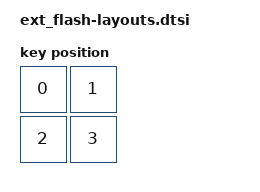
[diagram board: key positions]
#include <physical_layouts.dtsi>

/ {
    physical_layout0: physical_layout_0{
        compatible = "zmk,physical-layout";
        display-name = "Macro Pad";
        // transform = <&default_transform>;
        // kscan = <&kscan0>;
        keys  //                     w   h    x    y     rot    rx    ry
            = <&key_physical_attrs 100 100    0    0       0     0     0>
            , <&key_physical_attrs 100 100  100    0       0     0     0>
            , <&key_physical_attrs 100 100    0  100       0     0     0>
            , <&key_physical_attrs 100 100  100  100       0     0     0>
            ;
    };

    position_map {
        compatible = "zmk,physical-layout-position-map";
        complete;
        layout0: layout0 {
            physical-layout = <&physical_layout0>;
            positions
                = <0 1>
                , <2 3>;
        };
    };
};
